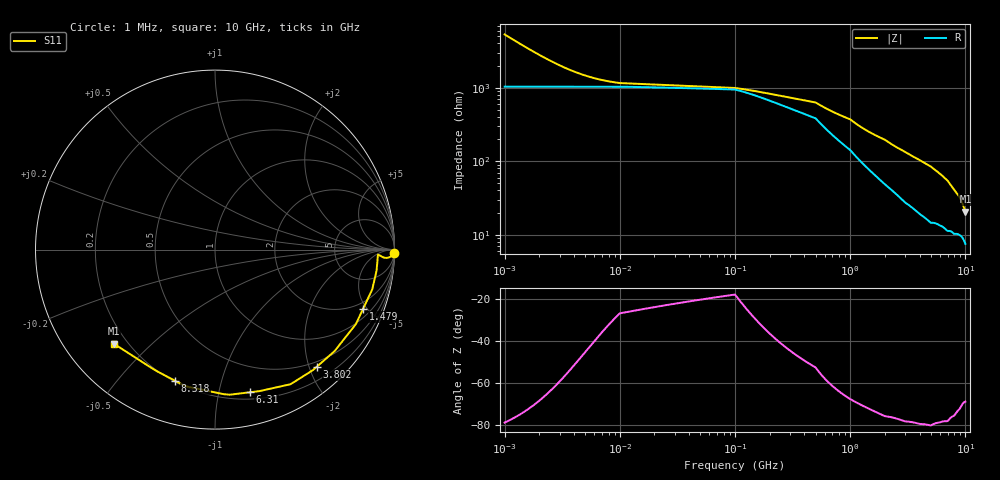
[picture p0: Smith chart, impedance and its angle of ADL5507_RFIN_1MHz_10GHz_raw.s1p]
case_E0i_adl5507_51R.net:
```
# ADL5507 raw + 51 ohm
Pac:P1 n1 gnd Num="1" Z="50 Ohm" P="0 dBm" f="1e9"
SPfile:CHIP n1 gnd File="ADL5507_RFIN_1MHz_10GHz_raw.s1p" Data="rectangular" Interpolator="linear" duringDC="open"
R:RT n1 gnd R="51 Ohm"
.SP:SP1 Type="log" Start="1e6" Stop="1e10" Points="401"
```
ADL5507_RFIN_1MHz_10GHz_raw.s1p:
! ADL5507 RFIN input reflection, variant 'raw', 1 MHz - 10 GHz (see adl5507_input_model.py)
! Data: ADL5507 Rev. 0 datasheet, Table 5, 10 MHz - 15 GHz; below 10 MHz extrapolated (series 25 pF coupling capacitor).
! 1-port: RFIN to ground (COMM). Reference impedance 50 ohm.
# HZ S RI R 50
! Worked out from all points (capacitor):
!   401 points, 1 MHz to 10 GHz, reference 50 ohm
!   read as one part to ground: C = 30.6 pF near 1.047 MHz
!   lowest |Z| = 20.7 ohm at 10 GHz (marker M1)
!   S11 on the Smith chart (normalised r, x): 1 MHz: open; 1.479 GHz: 1.50, -4.72; 3.802 GHz: 0.41, -2.13; 6.31 GHz: 0.26, -1.24; 8.318 GHz: 0.21, -0.72; 10 GHz: 0.15, -0.39
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1000000  0.9962 -0.0184
4365158  0.9582 -0.0459
2.187762e7  0.9192 -0.0333
1e8  0.908 -0.028
4.677351e8  0.9013 -0.1104
9.772372e8  0.8768 -0.2184
1.479108e9  0.8246 -0.331
2.089296e9  0.7722 -0.4313
3.801894e9  0.5664 -0.6533
5.011872e9  0.4188 -0.7505
6.309573e9  0.1926 -0.7952
7.24436e9  0.00961 -0.7974
8.317638e9  -0.2215 -0.7312
1e10  -0.564 -0.524
